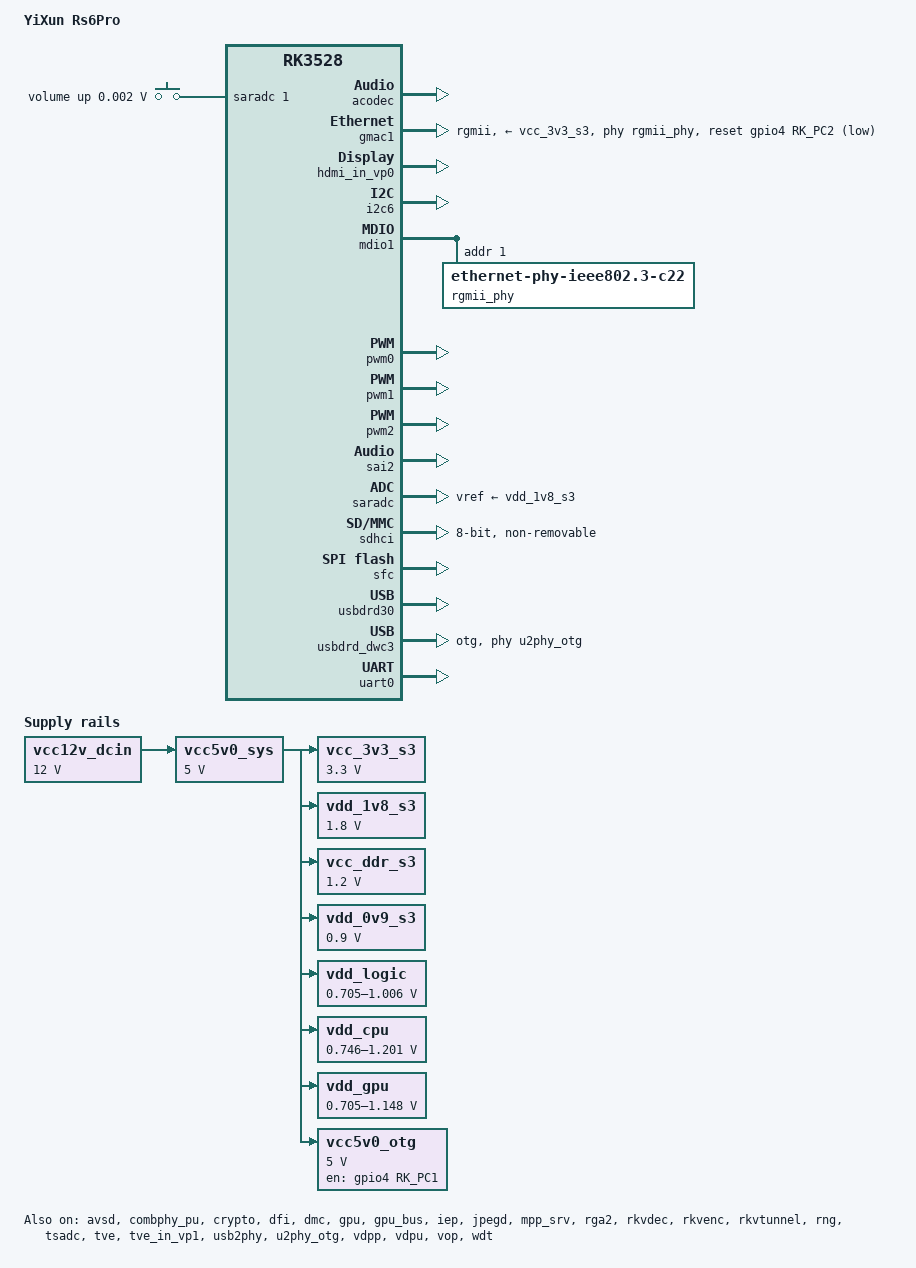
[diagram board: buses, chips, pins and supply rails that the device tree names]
// SPDX-License-Identifier: (GPL-2.0+ OR MIT)
/*
 * Copyright (c) 2022 Rockchip Electronics Co., Ltd.
 * Author: flippy (flippy@sina.com)
 *
 */

/dts-v1/;

#include <dt-bindings/gpio/gpio.h>
#include <dt-bindings/input/rk-input.h>
#include <dt-bindings/pinctrl/rockchip.h>
#include "rk3528.dtsi"

/ {
	model = "YiXun Rs6Pro";
	compatible = "yixun,rs6pro", "rockchip,rk3528";

	acodec_sound: acodec-sound {
		status = "okay";
		compatible = "simple-audio-card";
		simple-audio-card,name = "rk3528-acodec";
		simple-audio-card,format = "i2s";
		simple-audio-card,mclk-fs = <256>;
		simple-audio-card,cpu {
			sound-dai = <&sai2>;
		};
		simple-audio-card,codec {
			sound-dai = <&acodec>;
		};
	};

	adc_keys: adc-keys {
		status = "okay";
		compatible = "adc-keys";
		io-channels = <&saradc 1>;
		io-channel-names = "buttons";
		keyup-threshold-microvolt = <1800000>;
		poll-interval = <100>;

		vol-up-key {
			label = "volume up";
			linux,code = <KEY_VOLUMEUP>;
			press-threshold-microvolt = <1750>;
		};
	};

	aliases {
		ethernet0 = &gmac1;
		mmc0 = &sdhci;
	};

	chosen: chosen {
		bootargs = "earlycon=uart8250,mmio32,0xff9f0000 console=ttyS0,1500000";
	};

	fiq_debugger: fiq-debugger {
		compatible = "rockchip,fiq-debugger";
		rockchip,serial-id = <0>;
		rockchip,wake-irq = <0>;
		/* If enable uart uses irq instead of fiq */
		rockchip,irq-mode-enable = <1>;
		rockchip,baudrate = <1500000>;  /* Only 115200 and 1500000 */
		interrupts = <GIC_SPI 186 IRQ_TYPE_LEVEL_HIGH>;
		pinctrl-names = "default";
		pinctrl-0 = <&uart0m0_xfer>;
		status = "disabled";
	};

	firmware: firmware {
		optee: optee {
			compatible = "linaro,optee-tz";
			method = "smc";
		};
	};

	reserved_memory: reserved-memory {
		#address-cells = <2>;
		#size-cells = <2>;
		ranges;

		cmd: cma {
			compatible = "shared-dma-pool";
			reusable;
			size = <0x00 0x2000000>;
			linux,cma-default;
		};

		drm_logo: drm-logo@00000000 {
			compatible = "rockchip,drm-logo";
			reg = <0x0 0x0 0x0 0x0>;
		};

		drm_cubic_lut: drm-cubic-lut@00000000 {
			compatible = "rockchip,drm-cubic-lut";
			reg = <0x0 0x0 0x0 0x0>;
		};

		ramoops: ramoops@110000 {
			compatible = "ramoops";
			/* 0x110000 to 0x1f0000 is for ramoops */
			reg = <0x0 0x110000 0x0 0xe0000>;
			boot-log-size = <0x8000>;	/* do not change */
			boot-log-count = <0x1>;		/* do not change */
			console-size = <0x80000>;
			pmsg-size = <0x30000>;
			ftrace-size = <0x00000>;
			record-size = <0x14000>;
		};
	};

	vcc12v_dcin: vcc12v-dcin {
		compatible = "regulator-fixed";
		regulator-name = "vcc12v-dcin";
		regulator-always-on;
		regulator-boot-on;
		regulator-min-microvolt = <12000000>;
		regulator-max-microvolt = <12000000>;
	};

	vcc5v0_sys: vcc5v0-sys {
		compatible = "regulator-fixed";
		regulator-name = "vcc5v0_sys";
		regulator-always-on;
		regulator-boot-on;
		regulator-min-microvolt = <5000000>;
		regulator-max-microvolt = <5000000>;
		vin-supply = <&vcc12v_dcin>;
	};

	vcc_3v3_s3: vcc-3v3-s3 {
		compatible = "regulator-fixed";
		regulator-name = "vcc_3v3_s3";
		regulator-always-on;
		regulator-boot-on;
		regulator-min-microvolt = <3300000>;
		regulator-max-microvolt = <3300000>;
		vin-supply = <&vcc5v0_sys>;
	};

	vdd_1v8_s3: vdd-1v8-s3 {
		compatible = "regulator-fixed";
		regulator-name = "vdd_1v8_s3";
		regulator-always-on;
		regulator-boot-on;
		regulator-min-microvolt = <1800000>;
		regulator-max-microvolt = <1800000>;
		vin-supply = <&vcc5v0_sys>;
	};

	vcc_ddr_s3: vcc-ddr-s3 {
		compatible = "regulator-fixed";
		regulator-name = "vcc_ddr_s3";
		regulator-always-on;
		regulator-boot-on;
		regulator-min-microvolt = <1200000>;
		regulator-max-microvolt = <1200000>;
		vin-supply = <&vcc5v0_sys>;
	};

	vdd_0v9_s3: vdd-0v9-s3 {
		compatible = "regulator-fixed";
		regulator-name = "vdd_0v9_s3";
		regulator-always-on;
		regulator-boot-on;
		regulator-min-microvolt = <900000>;
		regulator-max-microvolt = <900000>;
		vin-supply = <&vcc5v0_sys>;
	};

	vdd_logic: vdd-logic {
		compatible = "pwm-regulator";
		pwms = <&pwm2 0 5000 1>;
		regulator-name = "vdd_logic";
		regulator-min-microvolt = <705000>;
		regulator-max-microvolt = <1006000>;
		regulator-init-microvolt = <950000>;
		regulator-always-on;
		regulator-boot-on;
		regulator-settling-time-up-us = <250>;
		pwm-supply = <&vcc5v0_sys>;
		status = "okay";
	};

	vdd_cpu: vdd-cpu {
		compatible = "pwm-regulator";
		pwms = <&pwm1 0 5000 1>;
		regulator-name = "vdd_cpu";
		regulator-min-microvolt = <746000>;
		regulator-max-microvolt = <1201000>;
		regulator-init-microvolt = <953000>;
		regulator-always-on;
		regulator-boot-on;
		regulator-settling-time-up-us = <250>;
		regulator-enable-ramp-delay = <400>;
		regulator-ramp-delay = <12500>;
		pwm-supply = <&vcc5v0_sys>;
		status = "okay";
	};

	vdd_gpu: vdd-gpu {
		compatible = "pwm-regulator";
		pwms = <&pwm0 0 5000 1>;
		regulator-name = "vdd_gpu";
		regulator-min-microvolt = <705000>;
		regulator-max-microvolt = <1148000>;
		regulator-init-microvolt = <900000>;
		regulator-always-on;
		regulator-boot-on;
		regulator-settling-time-up-us = <250>;
		regulator-enable-ramp-delay = <400>;
		regulator-ramp-delay = <12500>;
		pwm-supply = <&vcc5v0_sys>;
		status = "okay";
	};

	vcc5v0_otg: vcc5v0-otg-regulator {
		compatible = "regulator-fixed";
		regulator-name = "vcc5v0_otg";
		regulator-min-microvolt = <5000000>;
		regulator-max-microvolt = <5000000>;
		enable-active-high;
		gpio = <&gpio4 RK_PC1 GPIO_ACTIVE_HIGH>;
		vin-supply = <&vcc5v0_sys>;
		pinctrl-names = "default";
		pinctrl-0 = <&vcc5v0_otg_en>;
	};
};

&acodec {
	pa-ctl-gpios = <&gpio0 RK_PA0 GPIO_ACTIVE_HIGH>;
	status = "okay";
};

&avsd {
	status = "okay";
};

&combphy_pu {
	status = "okay";
};

&cpu0 {
	cpu-supply = <&vdd_cpu>;
};

&cpu0_opp_table {
	opp-408000000 {
		opp-microvolt-L0 = <905000 905000 1200000>;
		opp-microvolt-L1 = <895000 895000 1200000>;
		opp-microvolt-L2 = <885000 885000 1200000>;
		opp-microvolt-L3 = <875000 875000 1200000>;
		opp-microvolt-L4 = <865000 865000 1200000>;
		opp-microvolt-L5 = <855000 855000 1200000>;
		opp-microvolt = <850000 850000 1200000>;
	};

	opp-600000000 {
		opp-microvolt-L0 = <905000 905000 1200000>;
		opp-microvolt-L1 = <895000 895000 1200000>;
		opp-microvolt-L2 = <885000 885000 1200000>;
		opp-microvolt-L3 = <875000 875000 1200000>;
		opp-microvolt-L4 = <865000 865000 1200000>;
		opp-microvolt-L5 = <855000 855000 1200000>;
		opp-microvolt = <850000 850000 1200000>;
	};

	opp-816000000 {
		opp-microvolt-L0 = <905000 905000 1200000>;
		opp-microvolt-L1 = <895000 895000 1200000>;
		opp-microvolt-L2 = <885000 885000 1200000>;
		opp-microvolt-L3 = <875000 875000 1200000>;
		opp-microvolt-L4 = <865000 865000 1200000>;
		opp-microvolt-L5 = <855000 855000 1200000>;
		opp-microvolt = <850000 850000 1200000>;
	};

	opp-1008000000 {
		opp-microvolt-L0 = <905000 905000 1200000>;
		opp-microvolt-L1 = <895000 895000 1200000>;
		opp-microvolt-L2 = <885000 885000 1200000>;
		opp-microvolt-L3 = <875000 875000 1200000>;
		opp-microvolt-L4 = <865000 865000 1200000>;
		opp-microvolt-L5 = <855000 855000 1200000>;
		opp-microvolt = <850000 850000 1200000>;
	};

	opp-1200000000 {
		opp-microvolt-L0 = <935000 935000 1200000>;
		opp-microvolt-L1 = <922500 922500 1200000>;
		opp-microvolt-L2 = <910000 910000 1200000>;
		opp-microvolt-L3 = <897500 897500 1200000>;
		opp-microvolt-L4 = <885000 885000 1200000>;
		opp-microvolt-L5 = <872500 872500 1200000>;
		opp-microvolt-L6 = <860000 860000 1200000>;
		opp-microvolt = <850000 850000 1200000>;
	};

	opp-1416000000 {
		opp-microvolt-L0 = <1002500 1002500 1200000>;
		opp-microvolt-L1 = <990000 990000 1200000>;
		opp-microvolt-L2 = <977500 977500 1200000>;
		opp-microvolt-L3 = <965000 965000 1200000>;
		opp-microvolt-L4 = <952500 952500 1200000>;
		opp-microvolt-L5 = <940000 940000 1200000>;
		opp-microvolt-L6 = <927500 927500 1200000>;
		opp-microvolt-L7 = <915000 915000 1200000>;
		opp-microvolt-L8 = <902500 902500 1200000>;
		opp-microvolt-L9 = <890000 890000 1200000>;
		opp-microvolt-L10 = <877500 877500 1200000>;
		opp-microvolt-L11 = <865000 865000 1200000>;
		opp-microvolt = <865000 865000 1200000>;
	};

	opp-1608000000 {
		opp-microvolt-L0 = <1072500 1072500 1200000>;
		opp-microvolt-L1 = <1060000 1060000 1200000>;
		opp-microvolt-L2 = <1047500 1047500 1200000>;
		opp-microvolt-L3 = <1035000 1035000 1200000>;
		opp-microvolt-L4 = <1022500 1022500 1200000>;
		opp-microvolt-L5 = <1010000 1010000 1200000>;
		opp-microvolt-L6 = <997500 997500 1200000>;
		opp-microvolt-L7 = <985000 985000 1200000>;
		opp-microvolt-L8 = <972500 972500 1200000>;
		opp-microvolt-L9 = <960000 960000 1200000>;
		opp-microvolt-L10 = <947500 947500 1200000>;
		opp-microvolt-L11 = <935000 935000 1200000>;
		opp-microvolt = <935000 935000 1200000>;
	};

	opp-1800000000 {
		opp-microvolt-L0 = <1142500 1142500 1200000>;
		opp-microvolt-L1 = <1130000 1130000 1200000>;
		opp-microvolt-L2 = <1117500 1117500 1200000>;
		opp-microvolt-L3 = <1105000 1105000 1200000>;
		opp-microvolt-L4 = <1092500 1092500 1200000>;
		opp-microvolt-L5 = <1080000 1080000 1200000>;
		opp-microvolt-L6 = <1067500 1067500 1200000>;
		opp-microvolt-L7 = <1055000 1055000 1200000>;
		opp-microvolt-L8 = <1042500 1042500 1200000>;
		opp-microvolt-L9 = <1030000 1030000 1200000>;
		opp-microvolt-L10 = <1017500 1017500 1200000>;
		opp-microvolt-L11 = <1005000 1005000 1200000>;
		opp-microvolt = <1005000 1005000 1200000>;
	};

	opp-2016000000 {
		opp-microvolt-L0 = <1200000 1200000 1200000>;
		opp-microvolt-L1 = <1190000 1190000 1200000>;
		opp-microvolt-L2 = <1180000 1180000 1200000>;
		opp-microvolt-L3 = <1170000 1170000 1200000>;
		opp-microvolt-L4 = <1160000 1160000 1200000>;
		opp-microvolt-L5 = <1150000 1150000 1200000>;
		opp-microvolt-L6 = <1140000 1140000 1200000>;
		opp-microvolt-L7 = <1130000 1130000 1200000>;
		opp-microvolt-L8 = <1120000 1120000 1200000>;
		opp-microvolt-L9 = <1110000 1110000 1200000>;
		opp-microvolt-L10 = <1100000 1100000 1200000>;
		opp-microvolt-L11 = <1090000 1090000 1200000>;
		opp-microvolt = <1090000 1090000 1200000>;
	};
};

&crypto {
	status = "okay";
};

&dfi {
	status = "okay";
};

&display_subsystem {
	status = "disabled";
	memory-region = <&drm_logo>, <&drm_cubic_lut>;
	memory-region-names = "drm-logo", "drm-cubic-lut";
	/* devfreq = <&dmc>; */

	route {
		route_hdmi: route-hdmi {
			status = "disabled";
			logo,uboot = "logo.bmp";
			logo,kernel = "logo_kernel.bmp";
			logo,mode = "center";
			charge_logo,mode = "center";
			connect = <&vp0_out_hdmi>;
		};

		route_tve: route-tve {
			status = "disabled";
			logo,uboot = "logo.bmp";
			logo,kernel = "logo_kernel.bmp";
			logo,mode = "center";
			charge_logo,mode = "center";
			connect = <&vp1_out_tve>;
		};
	};
};

&dmc {
	center-supply = <&vdd_logic>;
	status = "okay";
};

&gmac1 {
	clock_in_out = "output";
	pinctrl-names = "default";
	pinctrl-0 = <&rgmii_miim
		     &rgmii_tx_bus2
		     &rgmii_rx_bus2
		     &rgmii_rgmii_clk
		     &rgmii_rgmii_bus
		     &eth_pins>;

	phy-handle = <&rgmii_phy>;
	phy-mode = "rgmii";
	phy-supply = <&vcc_3v3_s3>;

	tx_delay = <0x2c>;
	rx_delay = <0x16>;

	snps,reset-gpio = <&gpio4 RK_PC2 GPIO_ACTIVE_LOW>;
	snps,reset-active-low;
	/* Reset time is 20ms, 100ms for rtl8211f */
	snps,reset-delays-us = <0 20000 100000>;

	status = "okay";
};

&gpu {
	mali-supply = <&vdd_gpu>;
	status = "okay";
};

&gpu_bus {
	bus-supply = <&vdd_logic>;
	status = "okay";
};

&hdmi {
	status = "disabled";
};

&hdmi_in_vp0 {
	status = "okay";
};

&hdmiphy {
	status = "disabled";
};

&i2c6 {
	status = "okay";
};

&iep {
	status = "okay";
};

&iep_mmu {
	status = "okay";
};

&jpegd {
	status = "okay";
};

&jpegd_mmu {
	status = "okay";
};

&mailbox {
	status = "okay";
};

&mdio1 {
	rgmii_phy: phy@1 {
		compatible = "ethernet-phy-ieee802.3-c22";
		reg = <0x1>;
	};
};

&mpp_srv {
	status = "okay";
};

&pinctrl {
	usb {
		vcc5v0_otg_en: vcc5v0-otg-en {
			rockchip,pins = <4 RK_PC1 RK_FUNC_GPIO &pcfg_pull_none>;
		};
	};
};

&pwm0 {
	status = "okay";
};

&pwm1 {
	status = "okay";
};

&pwm2 {
	status = "okay";
};

&rga2 {
	status = "okay";
};

&rga2_mmu {
	status = "okay";
};

&rkvdec {
	status = "okay";
};

&rkvdec_mmu {
	status = "okay";
};

&rkvenc {
	status = "okay";
};

&rkvenc_mmu {
	status = "okay";
};

&rkvtunnel {
	status = "okay";
};

&rng {
	status = "okay";
};

&rockchip_suspend {
	status = "okay";
	rockchip,sleep-debug-en = <1>;
	rockchip,virtual-poweroff = <1>;
	rockchip,sleep-mode-config = <
		(0
		| RKPM_SLP_ARMPD
		)
	>;
	rockchip,wakeup-config = <
		(0
		| RKPM_CPU0_WKUP_EN
		| RKPM_GPIO_WKUP_EN
		)
	>;
	rockchip,pwm-regulator-config = <
		(0
		| RKPM_PWM0_M0_REGULATOR_EN
		| RKPM_PWM1_M0_REGULATOR_EN
		)
	>;
};

&sai2 {
	status = "okay";
};

&saradc {
	status = "okay";
	vref-supply = <&vdd_1v8_s3>;
};

&sdhci {
	bus-width = <8>;
	max-frequency = <200000000>;
	mmc-hs400-1_8v;
	mmc-hs400-enhanced-strobe;
	no-sd;
	no-sdio;
	non-removable;
	pinctrl-names = "default";
	pinctrl-0 = <&emmc_clk &emmc_cmd &emmc_strb &emmc_bus8>;
	status = "okay";
};

&sfc {
	status = "okay";
};

&tsadc {
	status = "okay";
};

&tve {
	status = "okay";
};

&tve_in_vp1 {
	status = "okay";
};

&usb2phy {
	status = "okay";
};

&u2phy_host {
	phy-supply = <&vcc5v0_sys>;
	status = "disabled";
};

&u2phy_otg {
	vbus-supply = <&vcc5v0_otg>;
	status = "okay";
};

&usb_host0_ehci {
	status = "disabled";
};

&usb_host0_ohci {
	status = "disabled";
};

&usbdrd30 {
	status = "okay";
};

&usbdrd_dwc3 {
	dr_mode = "otg";
	extcon = <&usb2phy>;
	maximum-speed = "high-speed";
        phys = <&u2phy_otg>;
        phy-names = "usb2-phy";
	status = "okay";
};

&uart0 {
	status = "okay";
	pinctrl-names = "default";
	pinctrl-0 = <&uart0m0_xfer>;
};

&vdpp {
	status = "okay";
};

&vdpu {
	status = "okay";
};

&vdpu_mmu {
	status = "okay";
};

&vop {
	status = "okay";
};

&vop_mmu {
	status = "okay";
};

&wdt {
	status = "okay";
};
